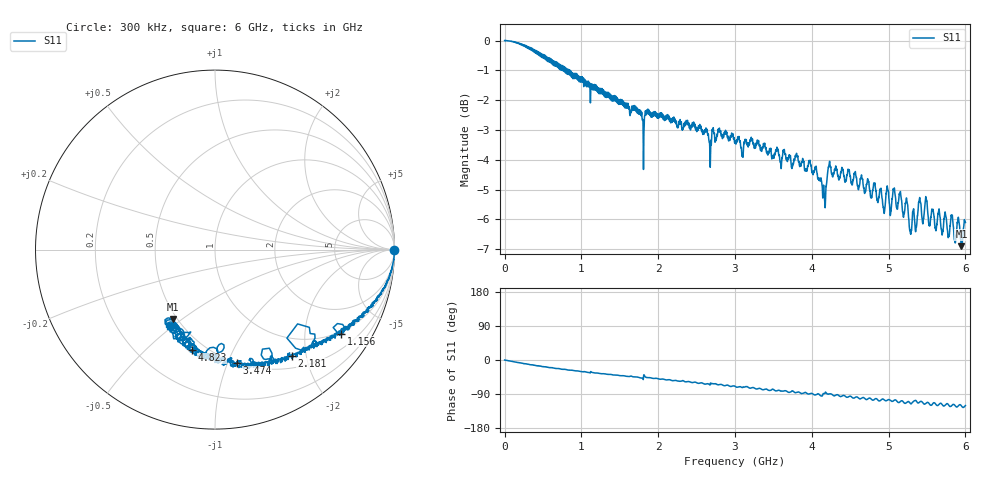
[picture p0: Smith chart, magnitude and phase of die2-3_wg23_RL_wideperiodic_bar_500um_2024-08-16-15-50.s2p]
!Keysight Technologies,P9374A,MY57304198,A.17.20.09
!Date: Friday, August 16, 2024 15:50:52
!Correction: S11(C  1-Port  )
!S21(C  1-Port  )
!S12(Off)
!S22(Off)
!S2P File: Measurements: S11, S21, S12, S22:
# Hz S  dB  R 50
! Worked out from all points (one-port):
!   6000 points, 300 kHz to 6 GHz, reference 50 ohm
!   lowest |S11| = -6.9 dB at 5.949 GHz (marker M1), VSWR 2.65, Z = 23.8 - j23.1 ohm
!   |S11| at or under -10 dB: nowhere
!   S11 on the Smith chart (normalised r, x): 300 kHz: open; 1.156 GHz: 0.94, -3.04; 2.181 GHz: 0.69, -1.74; 3.474 GHz: 0.50, -1.08; 4.823 GHz: 0.42, -0.71; 6 GHz: 0.43, -0.49
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300000  -0.00 -0.0  -200.00 45.0  -200.00 45.0  -200.00 45.0
4.913573e8  -0.46 -16.9  -200.00 45.0  -200.00 45.0  -200.00 45.0
1.000417e9  -1.37 -30.7  -200.00 45.0  -200.00 45.0  -200.00 45.0
1.156435e9  -1.48 -33.7  -200.00 45.0  -200.00 45.0  -200.00 45.0
1.781508e9  -2.50 -47.4  -200.00 45.0  -200.00 45.0  -200.00 45.0
1.842515e9  -2.50 -45.7  -200.00 45.0  -200.00 45.0  -200.00 45.0
2.000533e9  -2.60 -49.6  -200.00 45.0  -200.00 45.0  -200.00 45.0
2.180554e9  -2.74 -54.2  -200.00 45.0  -200.00 45.0  -200.00 45.0
3.00065e9  -3.43 -69.4  -200.00 45.0  -200.00 45.0  -200.00 45.0
3.473705e9  -3.81 -79.2  -200.00 45.0  -200.00 45.0  -200.00 45.0
4.000767e9  -4.42 -88.1  -200.00 45.0  -200.00 45.0  -200.00 45.0
4.11578e9  -4.68 -94.4  -200.00 45.0  -200.00 45.0  -200.00 45.0
4.158785e9  -5.00 -88.9  -200.00 45.0  -200.00 45.0  -200.00 45.0
4.234794e9  -4.13 -89.3  -200.00 45.0  -200.00 45.0  -200.00 45.0
4.54383e9  -4.64 -100.8  -200.00 45.0  -200.00 45.0  -200.00 45.0
4.822863e9  -4.79 -103.0  -200.00 45.0  -200.00 45.0  -200.00 45.0
5.000883e9  -5.21 -104.4  -200.00 45.0  -200.00 45.0  -200.00 45.0
5.283916e9  -6.47 -115.0  -200.00 45.0  -200.00 45.0  -200.00 45.0
5.342923e9  -6.15 -107.1  -200.00 45.0  -200.00 45.0  -200.00 45.0
5.408931e9  -5.35 -110.3  -200.00 45.0  -200.00 45.0  -200.00 45.0
5.948994e9  -6.90 -121.2  -200.00 45.0  -200.00 45.0  -200.00 45.0
6e9  -6.10 -120.3  -200.00 45.0  -200.00 45.0  -200.00 45.0
